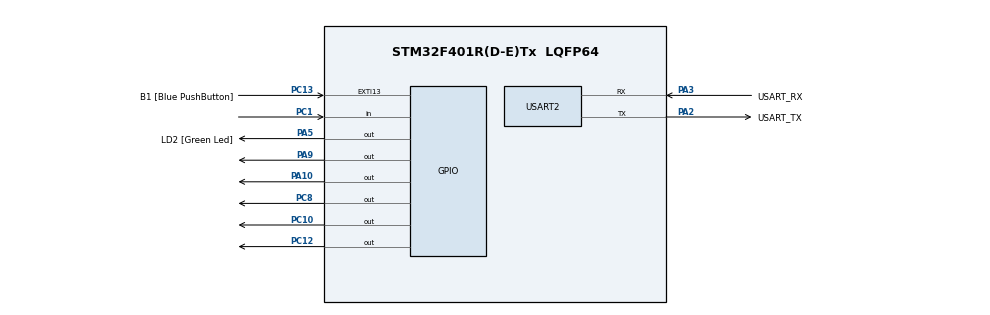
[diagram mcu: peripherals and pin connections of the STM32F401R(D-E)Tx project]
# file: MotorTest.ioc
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Mcu.Family=STM32F4
Mcu.Name=STM32F401R(D-E)Tx
Mcu.Package=LQFP64
NVIC.PriorityGroup=NVIC_PRIORITYGROUP_0
PA10.Signal=GPIO_Output
PA13.GPIO_Label=TMS
PA13.Mode=Serial_Wire
PA13.Signal=SYS_JTMS-SWDIO
PA14.GPIO_Label=TCK
PA14.Mode=Serial_Wire
PA14.Signal=SYS_JTCK-SWCLK
PA2.GPIO_Label=USART_TX
PA2.GPIO_Mode=GPIO_MODE_AF_PP
PA2.GPIO_PuPd=GPIO_NOPULL
PA2.GPIO_Speed=GPIO_SPEED_FREQ_LOW
PA2.Mode=Asynchronous
PA2.Signal=USART2_TX
PA3.GPIO_Label=USART_RX
PA3.GPIO_Mode=GPIO_MODE_AF_PP
PA3.GPIO_PuPd=GPIO_NOPULL
PA3.GPIO_Speed=GPIO_SPEED_FREQ_LOW
PA3.Mode=Asynchronous
PA3.Signal=USART2_RX
PA5.GPIO_Label=LD2 [Green Led]
PA5.GPIO_Mode=GPIO_MODE_OUTPUT_PP
PA5.GPIO_PuPd=GPIO_NOPULL
PA5.GPIO_Speed=GPIO_SPEED_FREQ_LOW
PA5.Signal=GPIO_Output
PA9.Signal=GPIO_Output
PB3.GPIO_Label=SWO
PB3.Signal=SYS_JTDO-SWO
PC1.Signal=GPIO_Input
PC10.Signal=GPIO_Output
PC12.Signal=GPIO_Output
PC13-ANTI_TAMP.GPIO_Label=B1 [Blue PushButton]
PC13-ANTI_TAMP.GPIO_ModeDefaultEXTI=GPIO_MODE_IT_FALLING
PC13-ANTI_TAMP.GPIO_PuPd=GPIO_NOPULL
PC13-ANTI_TAMP.Signal=GPXTI13
PC14-OSC32_IN.Mode=LSE-External-Oscillator
PC14-OSC32_IN.Signal=RCC_OSC32_IN
PC15-OSC32_OUT.Mode=LSE-External-Oscillator
PC15-OSC32_OUT.Signal=RCC_OSC32_OUT
PC8.Signal=GPIO_Output
PH0\ -\ OSC_IN.Mode=HSE-External-Clock-Source
PH0\ -\ OSC_IN.Signal=RCC_OSC_IN
PH1\ -\ OSC_OUT.Mode=HSE-External-Clock-Source
PH1\ -\ OSC_OUT.Signal=RCC_OSC_OUT
ProjectManager.HeapSize=0x200
ProjectManager.StackSize=0x400
ProjectManager.TargetToolchain=STM32CubeIDE
RCC.48MHZClocksFreq_Value=48000000
RCC.AHBFreq_Value=84000000
RCC.APB1CLKDivider=RCC_HCLK_DIV2
RCC.APB1Freq_Value=42000000
RCC.APB1TimFreq_Value=84000000
RCC.APB2Freq_Value=84000000
RCC.APB2TimFreq_Value=84000000
RCC.CortexFreq_Value=84000000
RCC.HCLKFreq_Value=84000000
RCC.HSE_VALUE=8000000
RCC.HSI_VALUE=16000000
RCC.PLLM=8
RCC.PLLN=336
RCC.PLLP=RCC_PLLP_DIV4
RCC.PLLQ=7
RCC.PLLSourceVirtual=RCC_PLLSOURCE_HSE
RCC.SYSCLKFreq_VALUE=84000000
RCC.SYSCLKSource=RCC_SYSCLKSOURCE_PLLCLK
RCC.VCOOutputFreq_Value=336000000
USART2.VirtualMode=VM_ASYNC
board=NUCLEO-F401RE

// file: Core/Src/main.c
/* USER CODE BEGIN Header */
/**
  ******************************************************************************
  * @file           : main.c
  * @brief          : Main program body
  ******************************************************************************
  * @attention
  *
  * <h2><center>&copy; Copyright (c) 2020 STMicroelectronics.
  * All rights reserved.</center></h2>
  *
  * This software component is licensed by ST under BSD 3-Clause license,
  * the "License"; You may not use this file except in compliance with the
  * License. You may obtain a copy of the License at:
  *                        opensource.org/licenses/BSD-3-Clause
  *
  ******************************************************************************
  */
/* USER CODE END Header */

#include "main.h"
#include "usart.h"
#include "gpio.h"

/* USER CODE BEGIN Includes */
#include <stdio.h>
#include <math.h>
#include "Motors_And_Encoders.h"

/* USER CODE END Includes */

void SystemClock_Config(void);
/* USER CODE BEGIN PFP */
void Reset_Encoders(void);
/* USER CODE END PFP */

int main(void)
{

  /* MCU Configuration--------------------------------------------------------*/

  /* Reset of all peripherals, Initializes the Flash interface and the Systick. */

  LL_APB2_GRP1_EnableClock(LL_APB2_GRP1_PERIPH_SYSCFG);
  LL_APB1_GRP1_EnableClock(LL_APB1_GRP1_PERIPH_PWR);

  NVIC_SetPriorityGrouping(NVIC_PRIORITYGROUP_0);

  /* System interrupt init*/

  /* Configure the system clock */
  SystemClock_Config();

  /* Initialize all configured peripherals */
  MX_GPIO_Init();
  MX_USART2_UART_Init();
  /* USER CODE BEGIN 2 */
  Configure_Encoder_Left();
  Configure_Motor_Left();
  Configure_Encoder_Right();
  Configure_Motor_Right();
  Reset_Encoders();
  Set_DutyCycle_Motor_Left(50);
  Set_DutyCycle_Motor_Right(50);
  LL_GPIO_SetOutputPin(GPIOC, LL_GPIO_PIN_8);
  LL_GPIO_SetOutputPin(GPIOA, LL_GPIO_PIN_9);
  LL_GPIO_SetOutputPin(GPIOA, LL_GPIO_PIN_10);
  LL_GPIO_SetOutputPin(GPIOC, LL_GPIO_PIN_10);
  LL_GPIO_SetOutputPin(GPIOC, LL_GPIO_PIN_12);

/*
  LL_mDelay(3000);//Initial delay
  Set_DutyCycle_Motor_Left(75);
  Set_DutyCycle_Motor_Right(75);
  LL_mDelay(800);// Move forward
  Set_DutyCycle_Motor_Left(50);
  Set_DutyCycle_Motor_Right(50);
  LL_mDelay(300);// Pause
  Set_DutyCycle_Motor_Left(75);
  Set_DutyCycle_Motor_Right(25);
  LL_mDelay(360);// Turn right
  Set_DutyCycle_Motor_Left(50);
  Set_DutyCycle_Motor_Right(50);
  LL_mDelay(300);// Pause
  Set_DutyCycle_Motor_Left(75);
  Set_DutyCycle_Motor_Right(75);
  LL_mDelay(660);// Move forward
  Set_DutyCycle_Motor_Left(50);
  Set_DutyCycle_Motor_Right(50);
  LL_mDelay(300);// Pause
  Set_DutyCycle_Motor_Left(75);
  Set_DutyCycle_Motor_Right(25);
  LL_mDelay(360);// Turn right
  Set_DutyCycle_Motor_Left(50);
  Set_DutyCycle_Motor_Right(50);
  LL_mDelay(300);// Pause
  Set_DutyCycle_Motor_Left(75);
  Set_DutyCycle_Motor_Right(75);
  LL_mDelay(660);// Move forward
  Set_DutyCycle_Motor_Left(50);
  Set_DutyCycle_Motor_Right(50);
  LL_mDelay(300);// Pause
  Set_DutyCycle_Motor_Left(75);
  Set_DutyCycle_Motor_Right(25);
  LL_mDelay(360);// Turn right
  Set_DutyCycle_Motor_Left(50);
  Set_DutyCycle_Motor_Right(50);
  LL_mDelay(300);// Pause
  Set_DutyCycle_Motor_Left(75);
  Set_DutyCycle_Motor_Right(75);
  LL_mDelay(660);// Move forward

  Set_DutyCycle_Motor_Left(50);
  Set_DutyCycle_Motor_Right(50);// STOP
  LL_mDelay(300);// Pause
  Set_DutyCycle_Motor_Left(75);
  Set_DutyCycle_Motor_Right(25);
  LL_mDelay(640);// Turn around

  Set_DutyCycle_Motor_Left(50);
  Set_DutyCycle_Motor_Right(50);
  LL_mDelay(300);// Pause
   Set_DutyCycle_Motor_Left(75);
   Set_DutyCycle_Motor_Right(75);
   LL_mDelay(600);// Move forward
   Set_DutyCycle_Motor_Left(50);
   Set_DutyCycle_Motor_Right(50);
   LL_mDelay(300);// Pause
   Set_DutyCycle_Motor_Left(25);
   Set_DutyCycle_Motor_Right(75);
   LL_mDelay(355);// Turn right
   Set_DutyCycle_Motor_Left(50);
   Set_DutyCycle_Motor_Right(50);
   LL_mDelay(300);// Pause
   Set_DutyCycle_Motor_Left(75);
   Set_DutyCycle_Motor_Right(75);
   LL_mDelay(660);// Move forward
   Set_DutyCycle_Motor_Left(50);
   Set_DutyCycle_Motor_Right(50);
   LL_mDelay(300);// Pause
   Set_DutyCycle_Motor_Left(25);
   Set_DutyCycle_Motor_Right(75);
   LL_mDelay(355);// Turn right
   Set_DutyCycle_Motor_Left(50);
   Set_DutyCycle_Motor_Right(50);
   LL_mDelay(300);// Pause
   Set_DutyCycle_Motor_Left(75);
   Set_DutyCycle_Motor_Right(75);
   LL_mDelay(660);// Move forward
   Set_DutyCycle_Motor_Left(50);
   Set_DutyCycle_Motor_Right(50);
   LL_mDelay(300);// Pause
   Set_DutyCycle_Motor_Left(25);
   Set_DutyCycle_Motor_Right(75);
   LL_mDelay(355);// Turn right
   Set_DutyCycle_Motor_Left(50);
   Set_DutyCycle_Motor_Right(50);
   LL_mDelay(300);// Pause
   Set_DutyCycle_Motor_Left(75);
   Set_DutyCycle_Motor_Right(75);
   LL_mDelay(660);// Move forward
   Set_DutyCycle_Motor_Left(50);
   Set_DutyCycle_Motor_Right(50);// STOP
   */
  int left = 0;
  int right = 0;
  int l1 = 0;
  int l2 = 0;
  int r1 =0;
  int r2 = 0;

  /* USER CODE END 2 */

  /* Infinite loop */
  /* USER CODE BEGIN WHILE */
  while (1)
  {
	  Set_DutyCycle_Motor_Left(75);
	  Set_DutyCycle_Motor_Right(75);

	  l1 = Get_Encoder_Left();
	  r1 = Get_Encoder_Right();

	  LL_mDelay(1000);
	  l2 = Get_Encoder_Left();
	  r2 = Get_Encoder_Right();

	  left = (int)((l2-l1)*1.95);
	  right = (int)((r2-r1)*1.95);

	  char strL[5];
	  char strR[5];

	  sprintf(strL, "%d", left);
	  sprintf(strR, "%d", right);

	  LL_USART_TransmitData8(USART2, 'R');
	  LL_mDelay(10);
	  LL_USART_TransmitData8(USART2, ':');
	  LL_mDelay(10);
	  for(int i = 0; i < 5; i++){
		  LL_USART_TransmitData8(USART2, strL[i]);
		  LL_mDelay(10);
	  }
  	  LL_USART_TransmitData8(USART2, 'L');
  	  LL_mDelay(10);
  	  LL_USART_TransmitData8(USART2, ':');
  	  LL_mDelay(10);
  	  for(int i = 0; i < 5; i++){
  		  LL_USART_TransmitData8(USART2, strR[i]);
  		  LL_mDelay(10);
  	  }

	  LL_mDelay(10);
	  LL_USART_TransmitData8(USART2, 0xA);
	  LL_mDelay(10);

    /* USER CODE END WHILE */

  }
}

void SystemClock_Config(void)
{
  LL_FLASH_SetLatency(LL_FLASH_LATENCY_2);

   if(LL_FLASH_GetLatency() != LL_FLASH_LATENCY_2)
  {
  Error_Handler();
  }
  LL_PWR_SetRegulVoltageScaling(LL_PWR_REGU_VOLTAGE_SCALE2);
  LL_RCC_HSE_EnableBypass();
  LL_RCC_HSE_Enable();

   /* Wait till HSE is ready */
  while(LL_RCC_HSE_IsReady() != 1)
  {

  }
  LL_RCC_PLL_ConfigDomain_SYS(LL_RCC_PLLSOURCE_HSE, LL_RCC_PLLM_DIV_8, 336, LL_RCC_PLLP_DIV_4);
  LL_RCC_PLL_Enable();

   /* Wait till PLL is ready */
  while(LL_RCC_PLL_IsReady() != 1)
  {

  }
  LL_RCC_SetAHBPrescaler(LL_RCC_SYSCLK_DIV_1);
  LL_RCC_SetAPB1Prescaler(LL_RCC_APB1_DIV_2);
  LL_RCC_SetAPB2Prescaler(LL_RCC_APB2_DIV_1);
  LL_RCC_SetSysClkSource(LL_RCC_SYS_CLKSOURCE_PLL);

   /* Wait till System clock is ready */
  while(LL_RCC_GetSysClkSource() != LL_RCC_SYS_CLKSOURCE_STATUS_PLL)
  {

  }
  LL_Init1msTick(84000000);
  LL_SYSTICK_SetClkSource(LL_SYSTICK_CLKSOURCE_HCLK);
  LL_SetSystemCoreClock(84000000);
  LL_RCC_SetTIMPrescaler(LL_RCC_TIM_PRESCALER_TWICE);
}

/* USER CODE BEGIN 4 */
void Reset_Encoders(void){
	NVIC_DisableIRQ(TIM2_IRQn);
	NVIC_DisableIRQ(TIM5_IRQn);

	LL_TIM_SetCounter(TIM2, 0);
	LL_TIM_SetCounter(TIM5, 0);

	NVIC_EnableIRQ(TIM2_IRQn);
	NVIC_EnableIRQ(TIM5_IRQn);
}

//**************Handlers and Callbacks*********************//
void TIM5_IRQHandler(void)
{
  /* Check whether CC1 interrupt is pending */
  if(LL_TIM_IsActiveFlag_CC1(TIM5) == 1)
  {
    /* Clear the update interrupt flag*/
    LL_TIM_ClearFlag_CC1(TIM5);
  }
}

void TIM2_IRQHandler(void)
{
  /* Check whether CC1 interrupt is pending */
  if(LL_TIM_IsActiveFlag_CC1(TIM2) == 1)
  {
    /* Clear the update interrupt flag*/
    LL_TIM_ClearFlag_CC1(TIM2);
  }
}

void EXTI15_10_IRQHandler(void){
	static volatile bool onoff;
	LL_EXTI_ClearFlag_0_31(LL_EXTI_LINE_13);
}

void SysTick_Callback(void){
	//use this as a 1 ms interrupt
}

/* USER CODE END 4 */

void Error_Handler(void)
{
}

/************************ (C) COPYRIGHT STMicroelectronics *****END OF FILE****/
